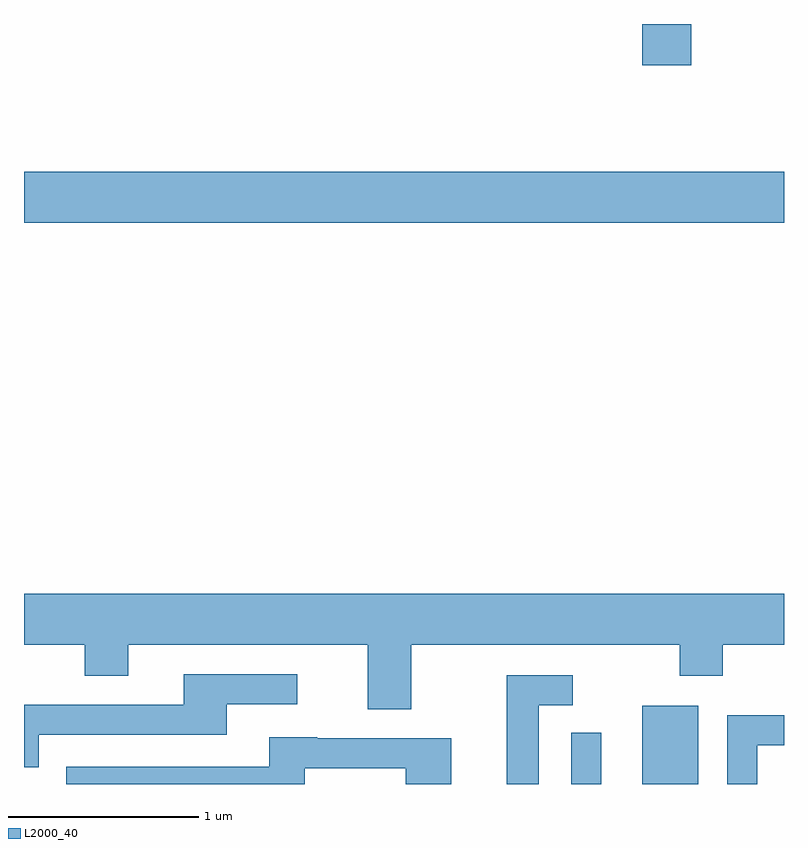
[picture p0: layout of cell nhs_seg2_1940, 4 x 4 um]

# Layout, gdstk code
import gdstk
lib = gdstk.Library(unit=1e-6, precision=1e-09)
def R(c, l, rs):  # rectangles x0, y0, x1, y1
    for r in rs: c.add(gdstk.rectangle(r[:2], r[2:], *l))
def P(c, l, *ps):  # polygons
    for p in ps: c.add(gdstk.Polygon(p, *l))
L2000_40 = (2000, 40)

nhs_seg2_1940 = lib.new_cell('nhs_seg2_1940')
R(nhs_seg2_1940, L2000_40, [(244.491,1049.802,244.649,1050.073), (244.866,1049.802,245.159,1050.214), (241.611,1052.756,245.611,1053.024), (244.866,1053.586,245.124,1053.802)])
P(nhs_seg2_1940, L2000_40, [(243.649,1050.536),(245.061,1050.536),(245.061,1050.371),(245.289,1050.371),(245.289,1050.536),(245.611,1050.536),(245.611,1050.804),(241.611,1050.804),(241.611,1050.536),(241.931,1050.536),(241.931,1050.371),(242.159,1050.371),(242.159,1050.536),(243.421,1050.536),(243.421,1050.196),(243.649,1050.196)],
  [(241.689,1050.061),(242.679,1050.061),(242.679,1050.221),(243.048,1050.221),(243.048,1050.379),(242.451,1050.379),(242.451,1050.219),(241.611,1050.219),(241.611,1049.891),(241.689,1049.891)],
  [(244.319,1050.216),(244.498,1050.216),(244.498,1050.374),(244.151,1050.374),(244.151,1049.802),(244.319,1049.802)],
  [(245.469,1050.006),(245.611,1050.006),(245.611,1050.164),(245.311,1050.164),(245.311,1049.802),(245.469,1049.802)],
  [(243.089,1049.886),(243.621,1049.886),(243.621,1049.802),(243.859,1049.802),(243.859,1050.044),(243.155,1050.044),(243.155,1050.049),(242.901,1050.049),(242.901,1049.894),(241.833,1049.894),(241.833,1049.802),(243.089,1049.802)])

lib.write_gds('nhs_seg2_1940.gds')
